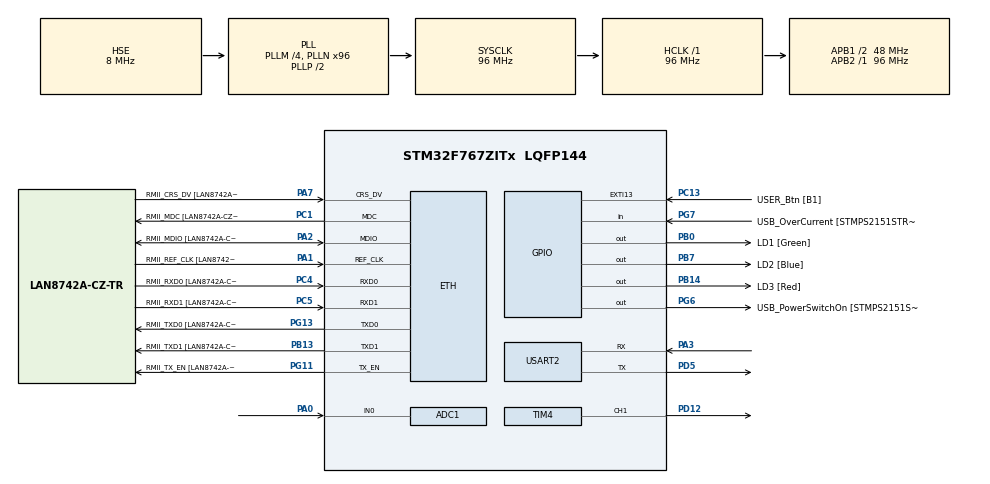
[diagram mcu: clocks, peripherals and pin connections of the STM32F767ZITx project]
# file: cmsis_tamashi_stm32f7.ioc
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ADC1.Channel-1\#ChannelRegularConversion=ADC_CHANNEL_0
ADC1.ClockPrescaler=ADC_CLOCK_SYNC_PCLK_DIV6
ADC1.DMAContinuousRequests=ENABLE
ADC1.DataAlign=ADC_DATAALIGN_LEFT
ADC1.ExternalTrigConv=ADC_EXTERNALTRIGCONV_T5_TRGO
ADC1.NbrOfConversionFlag=1
ADC1.Rank-1\#ChannelRegularConversion=1
ADC1.SamplingTime-1\#ChannelRegularConversion=ADC_SAMPLETIME_3CYCLES
ADC1.master=1
Dma.ADC1.0.Direction=DMA_PERIPH_TO_MEMORY
Dma.ADC1.0.FIFOMode=DMA_FIFOMODE_DISABLE
Dma.ADC1.0.Instance=DMA2_Stream0
Dma.ADC1.0.MemDataAlignment=DMA_MDATAALIGN_HALFWORD
Dma.ADC1.0.MemInc=DMA_MINC_ENABLE
Dma.ADC1.0.Mode=DMA_CIRCULAR
Dma.ADC1.0.PeriphDataAlignment=DMA_PDATAALIGN_HALFWORD
Dma.ADC1.0.PeriphInc=DMA_PINC_DISABLE
Dma.ADC1.0.Priority=DMA_PRIORITY_LOW
Dma.Request0=ADC1
ETH.MediaInterface=ETH_MEDIA_INTERFACE_RMII
ETH.PHY_Name=LAN8742A_PHY_ADDRESS
ETH.PHY_Value=0
ETH.PhyAddress=0
Mcu.Family=STM32F7
Mcu.Name=STM32F767ZITx
Mcu.Package=LQFP144
NVIC.DMA2_Stream0_IRQn=true\:0\:0\:false\:false\:true\:false\:true
NVIC.PriorityGroup=NVIC_PRIORITYGROUP_4
PA0/WKUP.Signal=ADCx_IN0
PA1.GPIO_Label=RMII_REF_CLK [LAN8742A-CZ-TR_REFCLK0]
PA1.Mode=RMII
PA1.Signal=ETH_REF_CLK
PA10.GPIO_Label=USB_ID
PA10.Signal=USB_OTG_FS_ID
PA11.GPIO_Label=USB_DM
PA11.Signal=USB_OTG_FS_DM
PA12.GPIO_Label=USB_DP
PA12.Signal=USB_OTG_FS_DP
PA13.GPIO_Label=TMS
PA13.Mode=Serial_Wire
PA13.Signal=SYS_JTMS-SWDIO
PA14.GPIO_Label=TCK
PA14.Mode=Serial_Wire
PA14.Signal=SYS_JTCK-SWCLK
PA2.GPIO_Label=RMII_MDIO [LAN8742A-CZ-TR_MDIO]
PA2.Mode=RMII
PA2.Signal=ETH_MDIO
PA3.Mode=Asynchronous
PA3.Signal=USART2_RX
PA7.GPIO_Label=RMII_CRS_DV [LAN8742A-CZ-TR_CRS_DV]
PA7.Mode=RMII
PA7.Signal=ETH_CRS_DV
PA8.GPIO_Label=USB_SOF [TP1]
PA8.Signal=USB_OTG_FS_SOF
PA9.GPIO_Label=USB_VBUS
PA9.Signal=USB_OTG_FS_VBUS
PB0.GPIO_Label=LD1 [Green]
PB0.Signal=GPIO_Output
PB13.GPIO_Label=RMII_TXD1 [LAN8742A-CZ-TR_TXD1]
PB13.Mode=RMII
PB13.Signal=ETH_TXD1
PB14.GPIO_Label=LD3 [Red]
PB14.Signal=GPIO_Output
PB3.GPIO_Label=SWO
PB3.Signal=SYS_JTDO-SWO
PB7.GPIO_Label=LD2 [Blue]
PB7.Signal=GPIO_Output
PC1.GPIO_Label=RMII_MDC [LAN8742A-CZ-TR_MDC]
PC1.Mode=RMII
PC1.Signal=ETH_MDC
PC13.GPIO_Label=USER_Btn [B1]
PC13.Signal=GPXTI13
PC14/OSC32_IN.Mode=LSE-External-Oscillator
PC14/OSC32_IN.Signal=RCC_OSC32_IN
PC15/OSC32_OUT.Mode=LSE-External-Oscillator
PC15/OSC32_OUT.Signal=RCC_OSC32_OUT
PC4.GPIO_Label=RMII_RXD0 [LAN8742A-CZ-TR_RXD0]
PC4.Mode=RMII
PC4.Signal=ETH_RXD0
PC5.GPIO_Label=RMII_RXD1 [LAN8742A-CZ-TR_RXD1]
PC5.Mode=RMII
PC5.Signal=ETH_RXD1
PD12.Signal=S_TIM4_CH1
PD5.Mode=Asynchronous
PD5.Signal=USART2_TX
PD8.GPIO_Label=STLK_RX [STM32F103CBT6_PA3]
PD8.Signal=USART3_TX
PD9.GPIO_Label=STLK_TX [STM32F103CBT6_PA2]
PD9.Signal=USART3_RX
PG11.GPIO_Label=RMII_TX_EN [LAN8742A-CZ-TR_TXEN]
PG11.Mode=RMII
PG11.Signal=ETH_TX_EN
PG13.GPIO_Label=RMII_TXD0 [LAN8742A-CZ-TR_TXD0]
PG13.Mode=RMII
PG13.Signal=ETH_TXD0
PG6.GPIO_Label=USB_PowerSwitchOn [STMPS2151STR_EN]
PG6.Signal=GPIO_Output
PG7.GPIO_Label=USB_OverCurrent [STMPS2151STR_FAULT]
PG7.Signal=GPIO_Input
PH0/OSC_IN.GPIO_Label=MCO [STM32F103CBT6_PA8]
PH0/OSC_IN.Mode=HSE-External-Clock-Source
PH0/OSC_IN.Signal=RCC_OSC_IN
PH1/OSC_OUT.Mode=HSE-External-Clock-Source
PH1/OSC_OUT.Signal=RCC_OSC_OUT
ProjectManager.HeapSize=0x3000
ProjectManager.StackSize=0x6000
ProjectManager.TargetToolchain=MDK-ARM V5.27
RCC.48MHZClocksFreq_Value=24000000
RCC.AHBFreq_Value=96000000
RCC.APB1CLKDivider=RCC_HCLK_DIV2
RCC.APB1Freq_Value=48000000
RCC.APB1TimFreq_Value=96000000
RCC.APB2Freq_Value=96000000
RCC.APB2TimFreq_Value=96000000
RCC.CortexFreq_Value=96000000
RCC.HCLKFreq_Value=96000000
RCC.HSE_VALUE=8000000
RCC.HSI_VALUE=16000000
RCC.PLLM=4
RCC.PLLMUL=RCC_PLL_MUL9
RCC.PLLN=96
RCC.PLLQ=4
RCC.PLLSourceVirtual=RCC_PLLSOURCE_HSE
RCC.PRESCALERUSB=RCC_USBCLKSOURCE_PLL_DIV1_5
RCC.SYSCLKFreq_VALUE=96000000
RCC.SYSCLKSource=RCC_SYSCLKSOURCE_PLLCLK
RCC.SYSCLKSourceVirtual=RCC_SYSCLKSOURCE_PLLCLK
RCC.USBFreq_Value=48000000
RCC.VCOOutputFreq_Value=192000000
SH.ADCx_IN0.0=ADC1_IN0,IN0
SH.S_TIM4_CH1.0=TIM4_CH1,PWM Generation1 CH1
TIM4.Channel-PWM\ Generation1\ CH1=TIM_CHANNEL_1
TIM4.Period=40-1
TIM4.Prescaler=960-1
TIM4.Pulse-PWM\ Generation1\ CH1=20-1
TIM5.Period=99
TIM5.Prescaler=239
TIM5.TIM_MasterOutputTrigger=TIM_TRGO_UPDATE
TIM5.TIM_MasterSlaveMode=TIM_MASTERSLAVEMODE_ENABLE
USART2.VirtualMode-Asynchronous=VM_ASYNC
VP_TIM4_VS_ClockSourceINT.Mode=Internal
VP_TIM5_VS_ClockSourceINT.Mode=Internal
board=NUCLEO-F767ZI

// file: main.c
/* USER CODE BEGIN Header */
/**
  ******************************************************************************
  * @file           : main.c
  * @brief          : Main program body
  ******************************************************************************
  * @attention
  *
  * <h2><center>&copy; Copyright (c) 2020 STMicroelectronics.
  * All rights reserved.</center></h2>
  *
  * This software component is licensed by ST under BSD 3-Clause license,
  * the "License"; You may not use this file except in compliance with the
  * License. You may obtain a copy of the License at:
  *                        opensource.org/licenses/BSD-3-Clause
  *
  ******************************************************************************
  */

/* USER CODE END Header */

#include "main.h"

/* USER CODE BEGIN Includes */
#include "arm_math.h"
#include "math.h"
#include "utils.h"
#define BUFFSIZE 512
/* USER CODE END Includes */

ADC_HandleTypeDef hadc1;
DMA_HandleTypeDef hdma_adc1;

ETH_HandleTypeDef heth;

TIM_HandleTypeDef htim4;
TIM_HandleTypeDef htim5;

UART_HandleTypeDef huart2;

/* USER CODE BEGIN PV */
uint16_t counter = 0;
arm_rfft_instance_q15 rfft_hanlder;
arm_rfft_fast_instance_f32 fast_32_hanlder;
uint8_t jeller = 123;
float32_t input_buffer[BUFFSIZE];
float32_t transformed_bufer[1025]; //not sure about the size yet tho
float32_t abs_vals[256];
float32_t sine_buffer[BUFFSIZE];
uint16_t max_value_bin = 0;
uint16_t adc_completed = 0x0000;
uint16_t DMA_received = 0;
uint16_t processing_in_progress = 0;
uint16_t processed = 0;
float32_t current_max_freq_amplitude = 0;
float32_t prev_max_freq_amplitude = 0;

float32_t log_argument_constant = 0.00005;
uint8_t velocity;

int start_tick = 0;
int last_tick = 0;
int diff = 0;
double sampling_rate = 8000.0;
double two_pi = 6.28318530718;
double frequency = 50;
uint16_t ADC_BUFF[BUFFSIZE];

uint8_t send_midi_message = 0;
float32_t threshhold = 220000.0;
uint8_t prev_value = 0;
uint8_t current_value = 0;
uint8_t true_current_value = 0; //above threshold
uint8_t last_sent_frequency_bin = 0;
uint8_t note_on[3] = {0x90, 0xC0, 0x40};
uint8_t note_off[3] = {0x80, 0xC0, 0x40};
uint8_t over_threshhold = 0;
uint8_t not_send = 0;
uint32_t time_start = 0;
uint32_t timer_compare = 0;
uint32_t timer_difference = 0;
uint8_t note_already_off = 1;
/* USER CODE END PV */

void SystemClock_Config(void);
static void MX_GPIO_Init(void);
static void MX_DMA_Init(void);
static void MX_ADC1_Init(void);
static void MX_ETH_Init(void);
static void MX_TIM5_Init(void);
static void MX_TIM4_Init(void);
static void MX_USART2_UART_Init(void);

/* USER CODE BEGIN 0 */

void initialize_sine(void)
{

   int i = 0;
	 double constant_factor = 6.28318530718*frequency/sampling_rate;
   double constant_factor_two = 30*6.28318530718*frequency/sampling_rate; // 150 hz signal
	 for(i = 0; i < BUFFSIZE; i++)
   {
	     sine_buffer[i] = 1000.0*sin(constant_factor_two*i); //150hz signal
	 }

}

void copy_sine_to_input(void)
{

	int i = 0;
	for(i = 0; i < BUFFSIZE; i++)
	{
	   input_buffer[i] = (float32_t)ADC_BUFF[i]; // ai aq vityvnebi
		 // erti aris USHORT meore SHORT HAHA GET FUCKED
		 // what ???
	}

}

uint16_t max_value_bin_find(float32_t * source, uint16_t size)
{

	  int i = 0;
	  float32_t max_float =0;
	  uint16_t max_bin = 0;
	  size = size - 1;
	  for(i=0; i < size; i++)
	  {
		   if(source[i] > max_float)
       {
				 max_float = source[i];
				 max_bin = i;
			 }
		}
   return max_bin;
}

void empty_out_buffer(float32_t * buffer, int16_t size)
{

	  int m = 0;
	  for(m=0; m < size; m++)
    {
		   buffer[m] = 0;
		}

}

/* USER CODE END 0 */

int main(void)
{

  /* MCU Configuration--------------------------------------------------------*/

  /* Reset of all peripherals, Initializes the Flash interface and the Systick. */
  HAL_Init();

  /* Configure the system clock */
  SystemClock_Config();

  /* Initialize all configured peripherals */
  MX_GPIO_Init();
  MX_DMA_Init();
  MX_ADC1_Init();
  MX_ETH_Init();
  MX_TIM5_Init();
  MX_TIM4_Init();
  MX_USART2_UART_Init();
  /* USER CODE BEGIN 2 */
	/*
	initialize_sine();
	HAL_Delay(100);
	copy_sine_to_input();
	HAL_Delay(100);
	empty_out_buffer(transformed_bufer, 512);
  */
	jeller = arm_rfft_fast_init_f32(&fast_32_hanlder, 512);
	HAL_ADC_Start_DMA(&hadc1, (uint32_t *) ADC_BUFF, BUFFSIZE);
  HAL_TIM_Base_Start(&htim5); // adc sampling clock

  /*

	start_tick = HAL_GetTick();
  arm_rfft_fast_f32(&fast_32_hanlder, sine_buffer, transformed_bufer, 0);
 	arm_cmplx_mag_f32(transformed_bufer, abs_vals, 512);
	max_value_bin = max_value_bin_find(abs_vals, 256);
	last_tick = HAL_GetTick();

	diff = last_tick - start_tick;
	*/
	jeller = 5;
	HAL_Delay(100);
  /* USER CODE END 2 */

  /* Infinite loop */
  while (1)
  {

    /* USER CODE BEGIN 3 */
    if(DMA_received == 1)
    {
			  //HAL_ADC_Stop_DMA(&hadc1); //wesit ese unda iyos magram RAVI ASWREBS TAVISUFLAD RAAAA BUSHIT
			  DMA_received = 0;
			  prev_value = true_current_value;
			  prev_max_freq_amplitude = current_max_freq_amplitude;

		    processing_in_progress = 1;
		    copy_sine_to_input();  //copies ADC_VAL to Input float32 buffer
        arm_rfft_fast_f32(&fast_32_hanlder, input_buffer, transformed_bufer, 0);

 	      arm_cmplx_mag_f32(transformed_bufer, abs_vals, 512);
			  for(counter = 0; counter < 2; counter++)
        {
				   abs_vals[counter] = 0; //getting rid of bias voltage
				}
	      current_value = max_value_bin_find(abs_vals, 256);
			  current_max_freq_amplitude = abs_vals[current_value];

			  //AQ HAL USB CDC TRANSMIT
			  //HAL_ADC_Start_DMA(&hadc1, (uint32_t *) ADC_BUFF, BUFFSIZE);  // AQ KIDE ES MARA ASWREBS ES CHEMISA DA RA VUYOT APA

			 //AQ IYO DELAY LOL  AMIS NACVLAD RAME COTA COMPLEX ALGORITMI
				if(current_max_freq_amplitude > threshhold)
        {
					over_threshhold = 1;
					true_current_value = current_value;
					//did you see what I did here LOL ???
					// mokled tu noisi akrifa da prev value noisis toli gaxda
					//es ambobs naah bro da abrunebs dzvel values
					//well dzveli value saidan movitano???
					//RA TQMA UNDA RAC BOLOS GAVGZAVNE IM MESSAGEDAN HAHAHA, get rekts
				}
				/*
				if(prev_max_freq_amplitude > current_max_freq_amplitude && prev_value == current_value)
        {
             not_send = 1;
				}
				*/
		   /*
				if(note_on[1] == true_current_value) //tu dzvel gagzavnili isev axali current values tolia da es current value threshholdze metia....
        {
            not_send = 1;
               //should start counting time now
		    }
				  */

				if(over_threshhold == 1)
        {
					//   velocity = (uint8_t) 70*log(log_argument_constant*current_max_freq_amplitude) - 40;
          //   velocity = velocity & 0x7F;  // forcing to be 127
					//  note_on[2] = velocity;
					//  note_off[2] = velocity;
           if(MIDI_NOTES_FROM_FREQUQNCIES[true_current_value] != note_on[1])
           {
						 	note_off[1] = MIDI_NOTES_FROM_FREQUQNCIES[prev_value];
							note_on[1] = MIDI_NOTES_FROM_FREQUQNCIES[true_current_value];
							HAL_UART_Transmit(&huart2, note_off, 3, 500);
							HAL_UART_Transmit(&huart2, note_on, 3, 500);
							time_start = HAL_GetTick();
							note_already_off = 0;
					 }

		  	}

        if(note_already_off == 0)
        {
					 timer_compare = HAL_GetTick();
					 timer_difference = timer_compare - time_start;
				   if(timer_difference > 2000)
           {
					   note_already_off = 1;
				     note_off[1] = note_on[1];
					   HAL_UART_Transmit(&huart2, note_off, 3, 500);
				   }

				}

				not_send = 0;
				over_threshhold = 0; //resetting variabless
        processing_in_progress = 0;

		}

  }
  /* USER CODE END 3 */
}

void SystemClock_Config(void)
{
  RCC_OscInitTypeDef RCC_OscInitStruct = {0};
  RCC_ClkInitTypeDef RCC_ClkInitStruct = {0};
  RCC_PeriphCLKInitTypeDef PeriphClkInitStruct = {0};

  /** Configure LSE Drive Capability
  */
  HAL_PWR_EnableBkUpAccess();
  /** Configure the main internal regulator output voltage
  */
  __HAL_RCC_PWR_CLK_ENABLE();
  __HAL_PWR_VOLTAGESCALING_CONFIG(PWR_REGULATOR_VOLTAGE_SCALE3);
  /** Initializes the CPU, AHB and APB busses clocks
  */
  RCC_OscInitStruct.OscillatorType = RCC_OSCILLATORTYPE_HSE;
  RCC_OscInitStruct.HSEState = RCC_HSE_BYPASS;
  RCC_OscInitStruct.PLL.PLLState = RCC_PLL_ON;
  RCC_OscInitStruct.PLL.PLLSource = RCC_PLLSOURCE_HSE;
  RCC_OscInitStruct.PLL.PLLM = 4;
  RCC_OscInitStruct.PLL.PLLN = 96;
  RCC_OscInitStruct.PLL.PLLP = RCC_PLLP_DIV2;
  RCC_OscInitStruct.PLL.PLLQ = 4;
  if (HAL_RCC_OscConfig(&RCC_OscInitStruct) != HAL_OK)
  {
    Error_Handler();
  }
  /** Activate the Over-Drive mode
  */
  if (HAL_PWREx_EnableOverDrive() != HAL_OK)
  {
    Error_Handler();
  }
  /** Initializes the CPU, AHB and APB busses clocks
  */
  RCC_ClkInitStruct.ClockType = RCC_CLOCKTYPE_HCLK|RCC_CLOCKTYPE_SYSCLK
                              |RCC_CLOCKTYPE_PCLK1|RCC_CLOCKTYPE_PCLK2;
  RCC_ClkInitStruct.SYSCLKSource = RCC_SYSCLKSOURCE_PLLCLK;
  RCC_ClkInitStruct.AHBCLKDivider = RCC_SYSCLK_DIV1;
  RCC_ClkInitStruct.APB1CLKDivider = RCC_HCLK_DIV2;
  RCC_ClkInitStruct.APB2CLKDivider = RCC_HCLK_DIV1;

  if (HAL_RCC_ClockConfig(&RCC_ClkInitStruct, FLASH_LATENCY_3) != HAL_OK)
  {
    Error_Handler();
  }
  PeriphClkInitStruct.PeriphClockSelection = RCC_PERIPHCLK_USART2;
  PeriphClkInitStruct.Usart2ClockSelection = RCC_USART2CLKSOURCE_PCLK1;
  if (HAL_RCCEx_PeriphCLKConfig(&PeriphClkInitStruct) != HAL_OK)
  {
    Error_Handler();
  }
}

static void MX_ADC1_Init(void)
{

  ADC_ChannelConfTypeDef sConfig = {0};

  /** Configure the global features of the ADC (Clock, Resolution, Data Alignment and number of conversion)
  */
  hadc1.Instance = ADC1;
  hadc1.Init.ClockPrescaler = ADC_CLOCK_SYNC_PCLK_DIV6;
  hadc1.Init.Resolution = ADC_RESOLUTION_12B;
  hadc1.Init.ScanConvMode = ADC_SCAN_DISABLE;
  hadc1.Init.ContinuousConvMode = DISABLE;
  hadc1.Init.DiscontinuousConvMode = DISABLE;
  hadc1.Init.ExternalTrigConvEdge = ADC_EXTERNALTRIGCONVEDGE_RISING;
  hadc1.Init.ExternalTrigConv = ADC_EXTERNALTRIGCONV_T5_TRGO;
  hadc1.Init.DataAlign = ADC_DATAALIGN_LEFT;
  hadc1.Init.NbrOfConversion = 1;
  hadc1.Init.DMAContinuousRequests = ENABLE;
  hadc1.Init.EOCSelection = ADC_EOC_SINGLE_CONV;
  if (HAL_ADC_Init(&hadc1) != HAL_OK)
  {
    Error_Handler();
  }
  /** Configure for the selected ADC regular channel its corresponding rank in the sequencer and its sample time.
  */
  sConfig.Channel = ADC_CHANNEL_0;
  sConfig.Rank = ADC_REGULAR_RANK_1;
  sConfig.SamplingTime = ADC_SAMPLETIME_3CYCLES;
  if (HAL_ADC_ConfigChannel(&hadc1, &sConfig) != HAL_OK)
  {
    Error_Handler();
  }

}

static void MX_ETH_Init(void)
{

  heth.Instance = ETH;
  heth.Init.AutoNegotiation = ETH_AUTONEGOTIATION_ENABLE;
  heth.Init.PhyAddress = LAN8742A_PHY_ADDRESS;
  heth.Init.MACAddr[0] =   0x00;
  heth.Init.MACAddr[1] =   0x80;
  heth.Init.MACAddr[2] =   0xE1;
  heth.Init.MACAddr[3] =   0x00;
  heth.Init.MACAddr[4] =   0x00;
  heth.Init.MACAddr[5] =   0x00;
  heth.Init.RxMode = ETH_RXPOLLING_MODE;
  heth.Init.ChecksumMode = ETH_CHECKSUM_BY_HARDWARE;
  heth.Init.MediaInterface = ETH_MEDIA_INTERFACE_RMII;

  if (HAL_ETH_Init(&heth) != HAL_OK)
  {
    Error_Handler();
  }

}

static void MX_TIM4_Init(void)
{

  TIM_ClockConfigTypeDef sClockSourceConfig = {0};
  TIM_MasterConfigTypeDef sMasterConfig = {0};
  TIM_OC_InitTypeDef sConfigOC = {0};

  htim4.Instance = TIM4;
  htim4.Init.Prescaler = 960-1;
  htim4.Init.CounterMode = TIM_COUNTERMODE_UP;
  htim4.Init.Period = 40-1;
  htim4.Init.ClockDivision = TIM_CLOCKDIVISION_DIV1;
  htim4.Init.AutoReloadPreload = TIM_AUTORELOAD_PRELOAD_DISABLE;
  if (HAL_TIM_Base_Init(&htim4) != HAL_OK)
  {
    Error_Handler();
  }
  sClockSourceConfig.ClockSource = TIM_CLOCKSOURCE_INTERNAL;
  if (HAL_TIM_ConfigClockSource(&htim4, &sClockSourceConfig) != HAL_OK)
  {
    Error_Handler();
  }
  if (HAL_TIM_PWM_Init(&htim4) != HAL_OK)
  {
    Error_Handler();
  }
  sMasterConfig.MasterOutputTrigger = TIM_TRGO_RESET;
  sMasterConfig.MasterSlaveMode = TIM_MASTERSLAVEMODE_DISABLE;
  if (HAL_TIMEx_MasterConfigSynchronization(&htim4, &sMasterConfig) != HAL_OK)
  {
    Error_Handler();
  }
  sConfigOC.OCMode = TIM_OCMODE_PWM1;
  sConfigOC.Pulse = 20-1;
  sConfigOC.OCPolarity = TIM_OCPOLARITY_HIGH;
  sConfigOC.OCFastMode = TIM_OCFAST_DISABLE;
  if (HAL_TIM_PWM_ConfigChannel(&htim4, &sConfigOC, TIM_CHANNEL_1) != HAL_OK)
  {
    Error_Handler();
  }
  HAL_TIM_MspPostInit(&htim4);

}

static void MX_TIM5_Init(void)
{

  TIM_ClockConfigTypeDef sClockSourceConfig = {0};
  TIM_MasterConfigTypeDef sMasterConfig = {0};

  htim5.Instance = TIM5;
  htim5.Init.Prescaler = 239;
  htim5.Init.CounterMode = TIM_COUNTERMODE_UP;
  htim5.Init.Period = 99;
  htim5.Init.ClockDivision = TIM_CLOCKDIVISION_DIV1;
  htim5.Init.AutoReloadPreload = TIM_AUTORELOAD_PRELOAD_DISABLE;
  if (HAL_TIM_Base_Init(&htim5) != HAL_OK)
  {
    Error_Handler();
  }
  sClockSourceConfig.ClockSource = TIM_CLOCKSOURCE_INTERNAL;
  if (HAL_TIM_ConfigClockSource(&htim5, &sClockSourceConfig) != HAL_OK)
  {
    Error_Handler();
  }
  sMasterConfig.MasterOutputTrigger = TIM_TRGO_UPDATE;
  sMasterConfig.MasterSlaveMode = TIM_MASTERSLAVEMODE_ENABLE;
  if (HAL_TIMEx_MasterConfigSynchronization(&htim5, &sMasterConfig) != HAL_OK)
  {
    Error_Handler();
  }

}

static void MX_USART2_UART_Init(void)
{

  huart2.Instance = USART2;
  huart2.Init.BaudRate = 115200;
  huart2.Init.WordLength = UART_WORDLENGTH_8B;
  huart2.Init.StopBits = UART_STOPBITS_1;
  huart2.Init.Parity = UART_PARITY_NONE;
  huart2.Init.Mode = UART_MODE_TX_RX;
  huart2.Init.HwFlowCtl = UART_HWCONTROL_NONE;
  huart2.Init.OverSampling = UART_OVERSAMPLING_16;
  huart2.Init.OneBitSampling = UART_ONE_BIT_SAMPLE_DISABLE;
  huart2.AdvancedInit.AdvFeatureInit = UART_ADVFEATURE_NO_INIT;
  if (HAL_UART_Init(&huart2) != HAL_OK)
  {
    Error_Handler();
  }

}

static void MX_DMA_Init(void)
{

  /* DMA controller clock enable */
  __HAL_RCC_DMA2_CLK_ENABLE();

  /* DMA interrupt init */
  /* DMA2_Stream0_IRQn interrupt configuration */
  HAL_NVIC_SetPriority(DMA2_Stream0_IRQn, 0, 0);
  HAL_NVIC_EnableIRQ(DMA2_Stream0_IRQn);

}

static void MX_GPIO_Init(void)
{
  GPIO_InitTypeDef GPIO_InitStruct = {0};

  /* GPIO Ports Clock Enable */
  __HAL_RCC_GPIOC_CLK_ENABLE();
  __HAL_RCC_GPIOH_CLK_ENABLE();
  __HAL_RCC_GPIOA_CLK_ENABLE();
  __HAL_RCC_GPIOB_CLK_ENABLE();
  __HAL_RCC_GPIOD_CLK_ENABLE();
  __HAL_RCC_GPIOG_CLK_ENABLE();

  /*Configure GPIO pin Output Level */
  HAL_GPIO_WritePin(GPIOB, LD1_Pin|LD3_Pin|LD2_Pin, GPIO_PIN_RESET);

  /*Configure GPIO pin Output Level */
  HAL_GPIO_WritePin(USB_PowerSwitchOn_GPIO_Port, USB_PowerSwitchOn_Pin, GPIO_PIN_RESET);

  /*Configure GPIO pin : USER_Btn_Pin */
  GPIO_InitStruct.Pin = USER_Btn_Pin;
  GPIO_InitStruct.Mode = GPIO_MODE_IT_RISING;
  GPIO_InitStruct.Pull = GPIO_NOPULL;
  HAL_GPIO_Init(USER_Btn_GPIO_Port, &GPIO_InitStruct);

  /*Configure GPIO pins : LD1_Pin LD3_Pin LD2_Pin */
  GPIO_InitStruct.Pin = LD1_Pin|LD3_Pin|LD2_Pin;
  GPIO_InitStruct.Mode = GPIO_MODE_OUTPUT_PP;
  GPIO_InitStruct.Pull = GPIO_NOPULL;
  GPIO_InitStruct.Speed = GPIO_SPEED_FREQ_LOW;
  HAL_GPIO_Init(GPIOB, &GPIO_InitStruct);

  /*Configure GPIO pins : STLK_RX_Pin STLK_TX_Pin */
  GPIO_InitStruct.Pin = STLK_RX_Pin|STLK_TX_Pin;
  GPIO_InitStruct.Mode = GPIO_MODE_AF_PP;
  GPIO_InitStruct.Pull = GPIO_NOPULL;
  GPIO_InitStruct.Speed = GPIO_SPEED_FREQ_VERY_HIGH;
  GPIO_InitStruct.Alternate = GPIO_AF7_USART3;
  HAL_GPIO_Init(GPIOD, &GPIO_InitStruct);

  /*Configure GPIO pin : USB_PowerSwitchOn_Pin */
  GPIO_InitStruct.Pin = USB_PowerSwitchOn_Pin;
  GPIO_InitStruct.Mode = GPIO_MODE_OUTPUT_PP;
  GPIO_InitStruct.Pull = GPIO_NOPULL;
  GPIO_InitStruct.Speed = GPIO_SPEED_FREQ_LOW;
  HAL_GPIO_Init(USB_PowerSwitchOn_GPIO_Port, &GPIO_InitStruct);

  /*Configure GPIO pin : USB_OverCurrent_Pin */
  GPIO_InitStruct.Pin = USB_OverCurrent_Pin;
  GPIO_InitStruct.Mode = GPIO_MODE_INPUT;
  GPIO_InitStruct.Pull = GPIO_NOPULL;
  HAL_GPIO_Init(USB_OverCurrent_GPIO_Port, &GPIO_InitStruct);

  /*Configure GPIO pins : USB_SOF_Pin USB_ID_Pin USB_DM_Pin USB_DP_Pin */
  GPIO_InitStruct.Pin = USB_SOF_Pin|USB_ID_Pin|USB_DM_Pin|USB_DP_Pin;
  GPIO_InitStruct.Mode = GPIO_MODE_AF_PP;
  GPIO_InitStruct.Pull = GPIO_NOPULL;
  GPIO_InitStruct.Speed = GPIO_SPEED_FREQ_VERY_HIGH;
  GPIO_InitStruct.Alternate = GPIO_AF10_OTG_FS;
  HAL_GPIO_Init(GPIOA, &GPIO_InitStruct);

  /*Configure GPIO pin : USB_VBUS_Pin */
  GPIO_InitStruct.Pin = USB_VBUS_Pin;
  GPIO_InitStruct.Mode = GPIO_MODE_INPUT;
  GPIO_InitStruct.Pull = GPIO_NOPULL;
  HAL_GPIO_Init(USB_VBUS_GPIO_Port, &GPIO_InitStruct);

}

/* USER CODE BEGIN 4 */
void HAL_ADC_ConvCpltCallback(ADC_HandleTypeDef *hadc)
{
    DMA_received = 1;
}
/* USER CODE END 4 */

void Error_Handler(void)
{
}

/************************ (C) COPYRIGHT STMicroelectronics *****END OF FILE****/
